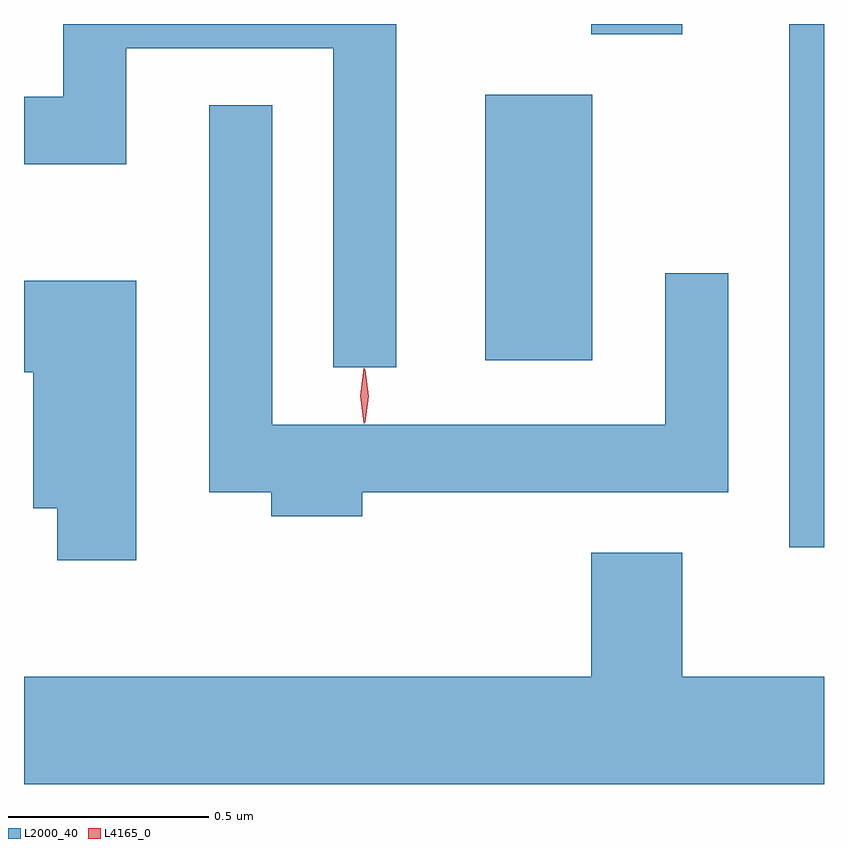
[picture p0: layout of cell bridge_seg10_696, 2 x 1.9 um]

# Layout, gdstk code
import gdstk
lib = gdstk.Library(unit=1e-6, precision=1e-09)
def R(c, l, rs):  # rectangles x0, y0, x1, y1
    for r in rs: c.add(gdstk.rectangle(r[:2], r[2:], *l))
def P(c, l, *ps):  # polygons
    for p in ps: c.add(gdstk.Polygon(p, *l))
L2000_40 = (2000, 40)
L4165_0 = (4165, 0)

bridge_seg10_696 = lib.new_cell('bridge_seg10_696')
R(bridge_seg10_696, L2000_40, [(898.296,2134.488,898.383,2135.796), (897.536,2134.956,897.804,2135.619), (897.801,2135.771,898.029,2135.796)])
P(bridge_seg10_696, L2000_40, [(897.314,2135.796),(896.481,2135.796),(896.481,2135.614),(896.383,2135.614),(896.383,2135.446),(896.639,2135.446),(896.639,2135.736),(897.156,2135.736),(897.156,2134.938),(897.314,2134.938)],
  [(897.229,2134.626),(898.144,2134.626),(898.144,2135.173),(897.986,2135.173),(897.986,2134.794),(897.004,2134.794),(897.004,2135.593),(896.846,2135.593),(896.846,2134.626),(897.001,2134.626),(897.001,2134.566),(897.229,2134.566)],
  [(896.664,2135.154),(896.383,2135.154),(896.383,2134.926),(896.406,2134.926),(896.406,2134.586),(896.466,2134.586),(896.466,2134.456),(896.664,2134.456)],
  [(898.383,2134.164),(898.029,2134.164),(898.029,2134.474),(897.801,2134.474),(897.801,2134.164),(896.383,2134.164),(896.383,2133.896),(898.383,2133.896)])
P(bridge_seg10_696, L4165_0, [(897.235,2134.8),(897.235,2134.8),(897.225,2134.866),(897.235,2134.932),(897.235,2134.933),(897.236,2134.932),(897.245,2134.866),(897.236,2134.8)],
  [(897.233,2134.797),(897.232,2134.798),(897.223,2134.867),(897.232,2134.936),(897.233,2134.936),(897.233,2134.936),(897.243,2134.867),(897.233,2134.798)])

lib.write_gds('bridge_seg10_696.gds')
